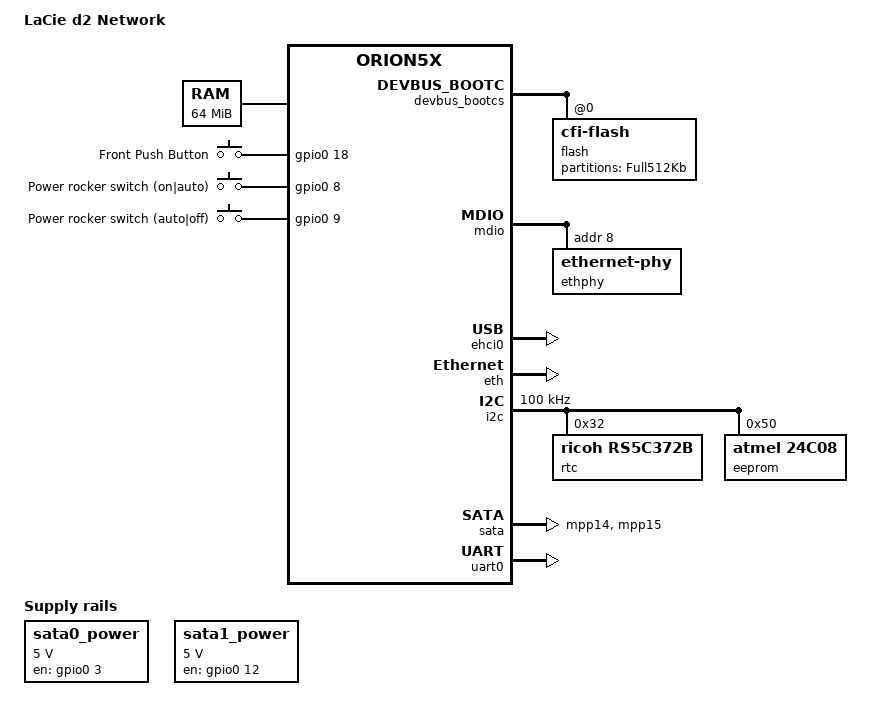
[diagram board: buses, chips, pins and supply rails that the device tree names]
/*
 * Copyright (C) 2014 Thomas Petazzoni <thomas.petazzoni@free-electrons.com>
 * Copyright (C) 2009 Simon Guinot <sguinot@lacie.com>
 *
 * This file is licensed under the terms of the GNU General Public
 * License version 2. This program is licensed "as is" without any
 * warranty of any kind, whether express or implied.
 */

/dts-v1/;

#include <dt-bindings/gpio/gpio.h>
#include <dt-bindings/input/input.h>
#include <dt-bindings/interrupt-controller/irq.h>
#include "orion5x-mv88f5182.dtsi"

/ {
	model = "LaCie d2 Network";
	compatible = "lacie,d2-network", "marvell,orion5x-88f5182", "marvell,orion5x";

	memory {
		reg = <0x00000000 0x4000000>; /* 64 MB */
	};

	chosen {
		bootargs = "console=ttyS0,115200n8 earlyprintk";
		linux,stdout-path = &uart0;
	};

	soc {
		ranges = <MBUS_ID(0xf0, 0x01) 0 0xf1000000 0x100000>,
			 <MBUS_ID(0x09, 0x00) 0 0xf2200000 0x800>,
			 <MBUS_ID(0x01, 0x0f) 0 0xfff80000 0x80000>;
	};

	gpio-keys {
		compatible = "gpio-keys";
		pinctrl-0 = <&pmx_buttons>;
		pinctrl-names = "default";
		#address-cells = <1>;
		#size-cells = <0>;
		front_button {
			label = "Front Push Button";
			linux,code = <KEY_POWER>;
			gpios = <&gpio0 18 GPIO_ACTIVE_HIGH>;
		};

		power_rocker_sw_on {
			label = "Power rocker switch (on|auto)";
			linux,input-type = <5>; /* EV_SW */
			linux,code = <1>; /* D2NET_SWITCH_POWER_ON */
			gpios = <&gpio0 8 GPIO_ACTIVE_HIGH>;
		};

		power_rocker_sw_off {
			label = "Power rocker switch (auto|off)";
			linux,input-type = <5>; /* EV_SW */
			linux,code = <2>; /* D2NET_SWITCH_POWER_OFF */
			gpios = <&gpio0 9 GPIO_ACTIVE_HIGH>;
		};
	};

	regulators {
		compatible = "simple-bus";
		#address-cells = <1>;
		#size-cells = <0>;
		pinctrl-0 = <&pmx_sata0_power &pmx_sata1_power>;
		pinctrl-names = "default";

		sata0_power: regulator@0 {
			compatible = "regulator-fixed";
			reg = <0>;
			regulator-name = "SATA0 Power";
			regulator-min-microvolt = <5000000>;
			regulator-max-microvolt = <5000000>;
			enable-active-high;
			regulator-always-on;
			regulator-boot-on;
			gpio = <&gpio0 3 GPIO_ACTIVE_HIGH>;
		};

		sata1_power: regulator@1 {
			compatible = "regulator-fixed";
			reg = <1>;
			regulator-name = "SATA1 Power";
			regulator-min-microvolt = <5000000>;
			regulator-max-microvolt = <5000000>;
			enable-active-high;
			regulator-always-on;
			regulator-boot-on;
			gpio = <&gpio0 12 GPIO_ACTIVE_HIGH>;
		};
	};
};

&devbus_bootcs {
	status = "okay";

	devbus,keep-config;

	/*
	 * Currently the MTD code does not recognize the MX29LV400CBCT
	 * as a bottom-type device. This could cause risks of
	 * accidentally erasing critical flash sectors. We thus define
	 * a single, write-protected partition covering the whole
	 * flash.  TODO: once the flash part TOP/BOTTOM detection
	 * issue is sorted out in the MTD code, break this into at
	 * least three partitions: 'u-boot code', 'u-boot environment'
	 * and 'whatever is left'.
	 */
	flash@0 {
		compatible = "cfi-flash";
		reg = <0 0x80000>;
		bank-width = <1>;
                #address-cells = <1>;
		#size-cells = <1>;

		partition@0 {
			label = "Full512Kb";
			reg = <0 0x80000>;
			read-only;
		};
	};
};

&mdio {
	status = "okay";

	ethphy: ethernet-phy {
		reg = <8>;
	};
};

&ehci0 {
	status = "okay";
};

&eth {
	status = "okay";

	ethernet-port@0 {
		phy-handle = <&ethphy>;
	};
};

&i2c {
	status = "okay";
	clock-frequency = <100000>;
	#address-cells = <1>;

	rtc@32 {
		compatible = "ricoh,rs5c372b";
		reg = <0x32>;
	};

	fan@3e {
		compatible = "gmt,g762";
		reg = <0x3e>;

		/* Not enough HW info */
		status = "disabled";
	};

	eeprom@50 {
		compatible = "atmel,24c08";
		reg = <0x50>;
	};
};

&pinctrl {
	pinctrl-0 = <&pmx_leds &pmx_board_id &pmx_fan_fail>;
	pinctrl-names = "default";

	pmx_board_id: pmx-board-id {
		marvell,pins = "mpp0", "mpp1", "mpp2";
		marvell,function = "gpio";
	};

	pmx_buttons: pmx-buttons {
		marvell,pins = "mpp8", "mpp9", "mpp18";
		marvell,function = "gpio";
	};

	pmx_fan_fail: pmx-fan-fail {
		marvell,pins = "mpp5";
		marvell,function = "gpio";
	};

	/*
	 * MPP6: Red front LED
	 * MPP16: Blue front LED blink control
	 */
	pmx_leds: pmx-leds {
		marvell,pins = "mpp6", "mpp16";
		marvell,function = "gpio";
	};

	pmx_sata0_led_active: pmx-sata0-led-active {
		marvell,pins = "mpp14";
		marvell,function = "sata0";
	};

	pmx_sata0_power: pmx-sata0-power {
		marvell,pins = "mpp3";
		marvell,function = "gpio";
	};

	pmx_sata1_led_active: pmx-sata1-led-active {
		marvell,pins = "mpp15";
		marvell,function = "sata1";
	};

	pmx_sata1_power: pmx-sata1-power {
		marvell,pins = "mpp12";
		marvell,function = "gpio";
	};

	/*
	 * Non MPP GPIOs:
	 *  GPIO 22: USB port 1 fuse (0 = Fail, 1 = Ok)
	 *  GPIO 23: Blue front LED off
	 *  GPIO 24: Inhibit board power off (0 = Disabled, 1 = Enabled)
	 */
};

&sata {
	pinctrl-0 = <&pmx_sata0_led_active
		     &pmx_sata1_led_active>;
	pinctrl-names = "default";
	status = "okay";
	nr-ports = <2>;
};

&uart0 {
	status = "okay";
};
